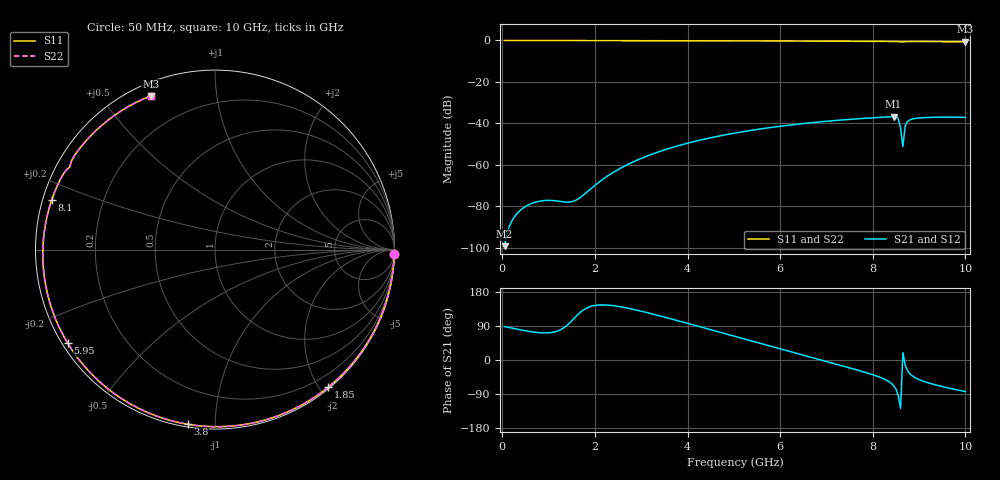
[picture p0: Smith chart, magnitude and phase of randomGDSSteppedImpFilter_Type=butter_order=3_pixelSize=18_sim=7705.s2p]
! freq	dB(S11)	phase(S11)	dB(S12)	phase(S12)
!  dB(S21)	phase(S21)	dB(S22)	phase(S22)
!S-par simulation data
#  GHz  S  DB  R 50
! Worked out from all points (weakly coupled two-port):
!   200 points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, 50 MHz to 10 GHz, reference 50 ohm
!   highest |S21| = -36.75 dB at 8.45 GHz (marker M1); lowest = -99.1 dB at 50 MHz (marker M2)
!   lowest |S11| = -0.6 dB at 10 GHz (marker M3), VSWR 26.82, Z = 2.69 + j33.2 ohm
!   |S11| at or under -10 dB: nowhere
!   |S22| runs from -0.6 to 0.0 dB; largest |S21 - S12| = 0
!   S11 on the Smith chart (normalised r, x): 50 MHz: 1, -85; 1.85 GHz: 0.02, -2.12; 3.8 GHz: 0.01, -0.86; 5.95 GHz: 0.02, -0.29; 8.1 GHz: 0.03, +0.15; 10 GHz: 0.05, +0.66
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0.05  -0.00 -1.4  -99.12 87.9  -99.12 87.9  -0.00 -1.4
0.5  -0.02 -13.9  -80.03 77.1  -80.03 77.1  -0.02 -13.9
0.95  -0.03 -26.3  -77.07 71.5  -77.07 71.5  -0.03 -26.3
1.45  -0.05 -39.9  -77.86 97.3  -77.86 97.3  -0.05 -39.9
1.75  -0.06 -47.8  -74.49 131.9  -74.49 131.9  -0.06 -47.8
1.85  -0.06 -50.5  -72.62 138.6  -72.62 138.6  -0.06 -50.5
2.55  -0.09 -68.5  -61.60 140.5  -61.60 140.5  -0.09 -68.5
3.4  -0.12 -89.4  -53.48 116.5  -53.48 116.5  -0.12 -89.4
3.8  -0.13 -98.9  -50.72 103.4  -50.72 103.4  -0.13 -98.9
5.05  -0.19 -127.5  -44.51 61.3  -44.51 61.3  -0.19 -127.5
5.95  -0.25 -147.6  -41.49 31.2  -41.49 31.2  -0.25 -147.6
6.7  -0.30 -164.3  -39.57 6.2  -39.57 6.2  -0.30 -164.3
8.1  -0.44 163.0  -37.13 -43.1  -37.13 -43.1  -0.44 163.0
8.35  -0.47 156.7  -36.80 -57.0  -36.80 -57.0  -0.47 156.7
8.45  -0.49 154.1  -36.75 -67.5  -36.75 -67.5  -0.49 154.1
8.55  -0.55 151.5  -37.65 -93.4  -37.65 -93.4  -0.55 151.5
8.6  -0.62 150.5  -42.16 -127.7  -42.16 -127.7  -0.62 150.5
8.65  -0.60 149.8  -51.14 19.5  -51.14 19.5  -0.60 149.8
8.7  -0.55 148.6  -41.14 -13.8  -41.14 -13.8  -0.54 148.6
8.8  -0.52 145.8  -38.28 -36.1  -38.28 -36.1  -0.52 145.8
9.15  -0.55 136.4  -37.13 -58.5  -37.13 -58.5  -0.55 136.4
10  -0.65 112.7  -37.03 -83.4  -37.03 -83.4  -0.65 112.7
